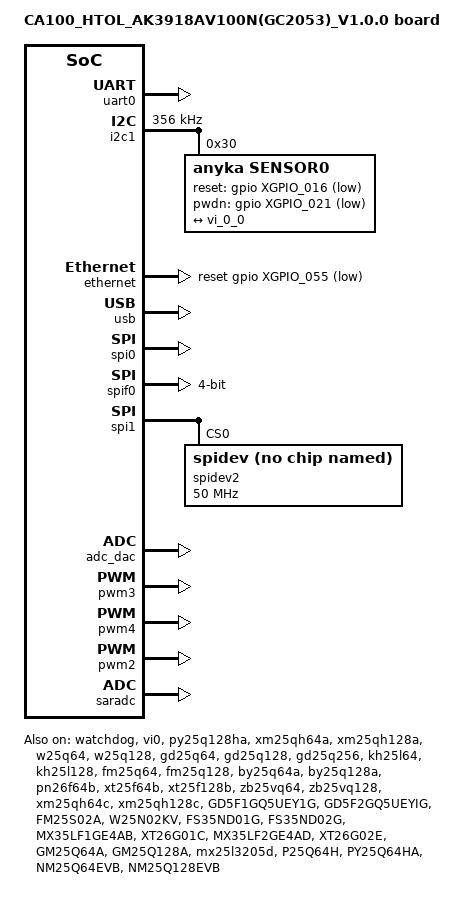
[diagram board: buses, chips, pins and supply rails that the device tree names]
/*
 * AK3918EV300L dev board dts
 *
 * Copyright (C) 2020 Anyka(Guangzhou) Microelectronics Technology Co., Ltd.
 *
 * This program is free software; you can redistribute it and/or modify
 * it under the terms of the GNU General Public License as published by
 * the Free Software Foundation; either version 2 of the License, or
 * (at your option) any later version.
 *
 * This program is distributed in the hope that it will be useful,
 * but WITHOUT ANY WARRANTY; without even the implied warranty of
 * MERCHANTABILITY or FITNESS FOR A PARTICULAR PURPOSE.  See the
 * GNU General Public License for more details.
 */

/dts-v1/;
#include "anycloud_ak3918ev300l_peri_max_freq.dtsi"
#include "anycloud_norflash.dtsi"
#include "anycloud_nandflash.dtsi"


/ {
    compatible = "anyka,ak3918ev300l";
    model = "CA100_HTOL_AK3918AV100N(GC2053)_V1.0.0 board";
    version = "V1.0.00";
};

&gpio {
    /*
    * "anyka,function": func index, please refer to dt-bindings/pinctrl/ak3918ev300l_pinctrl.h
    * "anyka,pull": configuration of the pins
    * bit[7:0]: pull up/down configuration
    *     bit[0]: pull up or pull down selection, 1 means select pull down, 0 means select pull up
    *     bit[4]: pull up or pull down enable, 1 means enable pull up&down function, 0 means disable fuction
    * !!! Notice that not all pin support pull up and pull down. Please refer to the programer's guide.
    * bit[11:8]: driver strength configuration.
    *     bit[9:8] drive strength.
    * bit[12:15] gpio direction
    *     bit[12]: direction. 0 is output, 1 is input
    *     bit[15]: enable direction. 1 is enable
    * bit[19:16]: input enable configuration
    *     bit[16]: 1 means enable input, 0 means disable input.
    * bit[20-23]: gpio output level
    *     bit[20]: 0 is low level, 1 is high level
    *     bit[23]: enable gpio output level. 1 is enable
    * bit[31:24]: pin slew rate configuration
    *     bit[24]: 1 means enable slew rate, 0 means disable slew rate.
    * !!! Notice OTHER bits which not mentioned please set to 0.
    */


    dvp0_12bits_pins: dvp0_12bits_pins {
        anyka,pins = <
                         XGPIO_100
                         XGPIO_009
                         XGPIO_010
                         XGPIO_017
                         XGPIO_018
                         XGPIO_019
                         XGPIO_020
                         XGPIO_023
                         XGPIO_021
                         XGPIO_022
                         XGPIO_099
                         XGPIO_102
                         XGPIO_101
                         XGPIO_103
                         XGPIO_104>;
        anyka,function = <XGPIO_100_FUNC_CSI_CLK
                            XGPIO_009_FUNC_CSI_HSYNC
                            XGPIO_010_FUNC_CSI_VSYNC
                            XGPIO_017_FUNC_CSI_D0
                            XGPIO_018_FUNC_CSI_D1
                            XGPIO_019_FUNC_CSI_D2
                            XGPIO_020_FUNC_CSI_D3
                            XGPIO_023_FUNC_CSI_D4
                            XGPIO_021_FUNC_CSI_D5
                            XGPIO_022_FUNC_CSI_D6
                            XGPIO_099_FUNC_CSI_D7
                            XGPIO_102_FUNC_CSI_D8
                            XGPIO_101_FUNC_CSI_D9
                            XGPIO_103_FUNC_CSI_D10
                            XGPIO_104_FUNC_CSI_D11>;
        anyka,pull = <0x00010010>;
    };

    dvp0_10bits_pins: dvp0_10bits_pins {
        anyka,pins = <   XGPIO_100		//pclk
                         XGPIO_009	//hsync
                         XGPIO_010	//vsync
                         XGPIO_017	//d0
                         XGPIO_018	//d1
                         XGPIO_019	//d2
                         XGPIO_020	//d3
                         XGPIO_023	//d4
                         XGPIO_099	//d7
                         XGPIO_102	//d8
                         XGPIO_101	//d9
                         XGPIO_103	//d10
                         XGPIO_104>;//d11
        anyka,function = <
                            XGPIO_100_FUNC_CSI_CLK
                            XGPIO_009_FUNC_CSI_HSYNC
                            XGPIO_010_FUNC_CSI_VSYNC
                            XGPIO_017_FUNC_CSI_D0
                            XGPIO_018_FUNC_CSI_D1
                            XGPIO_019_FUNC_CSI_D2
                            XGPIO_020_FUNC_CSI_D3
                            XGPIO_023_FUNC_CSI_D4
                            XGPIO_099_FUNC_CSI_D7
                            XGPIO_102_FUNC_CSI_D8
                            XGPIO_101_FUNC_CSI_D9
                            XGPIO_103_FUNC_CSI_D10
                            XGPIO_104_FUNC_CSI_D11>;
        anyka,pull = <0x00010010>;
    };

    dvp0_8bits_pins: dvp0_8bits_pins {
        anyka,pins = <XGPIO_100
                         XGPIO_009
                         XGPIO_010
                         XGPIO_017
                         XGPIO_018
                         XGPIO_019
                         XGPIO_020
                         XGPIO_023
                         XGPIO_021
                         XGPIO_022
                         XGPIO_099>;
        anyka,function = <XGPIO_100_FUNC_CSI_CLK
                            XGPIO_009_FUNC_CSI_HSYNC
                            XGPIO_010_FUNC_CSI_VSYNC
                            XGPIO_017_FUNC_CSI_D0
                            XGPIO_018_FUNC_CSI_D1
                            XGPIO_019_FUNC_CSI_D2
                            XGPIO_020_FUNC_CSI_D3
                            XGPIO_023_FUNC_CSI_D4
                            XGPIO_021_FUNC_CSI_D5
                            XGPIO_022_FUNC_CSI_D6
                            XGPIO_099_FUNC_CSI_D7>;
        anyka,pull = <0x00010010>;
    };

    mipi0_3lane_pins: mipi0_3lane_pins {
        anyka,pins = <XGPIO_099
                        XGPIO_100
                        XGPIO_101
                        XGPIO_102
                        XGPIO_103
                        XGPIO_104>;
        anyka,function = <XGPIO_099_FUNC_MIPI_RX_L0P
                            XGPIO_100_FUNC_MIPI_RX_L0N
                            XGPIO_101_FUNC_MIPI_RX_L1P
                            XGPIO_102_FUNC_MIPI_RX_L1N
                            XGPIO_103_FUNC_MIPI_RX_L2P
                            XGPIO_104_FUNC_MIPI_RX_L2N>;
        anyka,pull = <0x00010010>;
    };

    csi0_sclk_pin: csi0_sclk_pin {
        anyka,pins = <XGPIO_022>;
        anyka,function = <XGPIO_022_FUNC_CSI0_SCLK>;
        anyka,pull = <0x00010010>;
    };

    i2c1_pins: i2c1_pins {
        anyka,pins = <XGPIO_049 XGPIO_048>;
        anyka,function = <XGPIO_049_FUNC_TWI1_SDA XGPIO_048_FUNC_TWI1_SCL>;
        anyka,pull = <0x10010>;
    };
    pwm3_pins: pwm3_pins {
        anyka,pins = <XGPIO_068>;
        anyka,function = <XGPIO_068_FUNC_PWM3>;
        anyka,pull = <0x10>;
    };
    pwm4_pins: pwm4_pins {
        anyka,pins = <XGPIO_056>;
        anyka,function = <XGPIO_056_FUNC_PWM4>;
        anyka,pull = <0x10>;
    };

    pwm2_pins: pwm2_pins {
        anyka,pins = <XGPIO_067>;
        anyka,function = <XGPIO_067_FUNC_PWM2>;
        anyka,pull = <0x10>;
    };

    mci1_pins: mci1_pins {
        anyka,pins = <XGPIO_036
                        XGPIO_035
                        XGPIO_034
                        XGPIO_033
                        XGPIO_032
                        XGPIO_031>;
        anyka,function = <XGPIO_036_FUNC_SDIO0_DATA1
                            XGPIO_035_FUNC_SDIO0_DATA0
                            XGPIO_034_FUNC_SDIO0_MCLK
                            XGPIO_033_FUNC_SDIO0_CMD
                            XGPIO_032_FUNC_SDIO0_DATA3
                            XGPIO_031_FUNC_SDIO0_DATA2>;
        anyka,pull = <0x10010>;
    };

    /* 
     *  When using DATA3 as plugin and plugoff detect:
     *  1. Set XGPIO_032_FUNC_SDIO0_DATA3 pull up disable and pull down disable
     *  2. Using PULLDOWN RESISTANCE on PCB, for example, 510   KO.
     */
    mci1_pins_d3_detect_mode: mci1_pins_d3_detect_mode {
        anyka,pins = <XGPIO_036
                        XGPIO_035
                        XGPIO_034
                        XGPIO_033
                        XGPIO_032
                        XGPIO_031>;
        anyka,function = <XGPIO_036_FUNC_SDIO0_DATA1
                            XGPIO_035_FUNC_SDIO0_DATA0
                            XGPIO_034_FUNC_SDIO0_MCLK
                            XGPIO_033_FUNC_SDIO0_CMD
                            XGPIO_032_FUNC_SDIO0_DATA3
                            XGPIO_031_FUNC_SDIO0_DATA2>;
        anyka,pull = <  0x10010 
                        0x10010
                        0x10010
                        0x10010
                        0x10001  /* disable pull down and pull up */
                        0x10010 >;
    };

    mci1_idle_pins: mci1_idle_pins {
        anyka,pins = <XGPIO_036
                        XGPIO_035
                        XGPIO_034
                        XGPIO_033
                        XGPIO_032
                        XGPIO_031>;
        anyka,function = <XGPIO_036_FUNC_GPIO36
                            XGPIO_035_FUNC_GPIO35
                            XGPIO_034_FUNC_GPIO34
                            XGPIO_033_FUNC_GPIO33
                            XGPIO_032_FUNC_GPIO32
                            XGPIO_031_FUNC_GPIO31>;
        anyka,pull = <0x0>;
    };

    tf_det_pins: tf_det_pins {
        anyka,pins = <XGPIO_098>;
        anyka,function = <XGPIO_098_FUNC_GPIO98>;
        anyka,pull = <0x10010>;
    };

    tf_en_pins: tf_en_pins {
        anyka,pins = <XGPIO_050>;
        anyka,function = <XGPIO_050_FUNC_GPIO50>;
        anyka,pull = <0x10010>;
    };

/*    speaker_en_pins: speaker_en_pins {
        anyka,pins = <XGPIO_006>;
        anyka,function = <XGPIO_006_FUNC_GPIO6>;
		anyka,pull = <0x00808000>;
    };*/

	irled_pins: irled_pins {
        anyka,pins = <XGPIO_027>;
        anyka,function = <XGPIO_027_FUNC_GPIO27>;
        anyka,pull = <0x10>;
    };

    bled_pin: bled_pin {
        anyka,pins = <XGPIO_066>;
        anyka,function = <XGPIO_066_FUNC_GPIO66>;
        anyka,pull = <0x10>;
    };
    spi1_pins: spi1_pins {
        anyka,pins = <XGPIO_026
                        XGPIO_025
                        XGPIO_027
                        XGPIO_065
                        XGPIO_024>;
        anyka,function = <XGPIO_026_FUNC_SPI1_DOUT
                            XGPIO_025_FUNC_SPI1_CLK
                            XGPIO_027_FUNC_SPI1_DIN
                            XGPIO_065_FUNC_GPIO65
                            XGPIO_024_FUNC_SPI1_CS>;
        anyka,pull = <0x00010000>;
    };

	gpiokey_pins:gpiokey_pins {
		anyka,pins = <XGPIO_024>;
		anyka,function = <XGPIO_024_FUNC_GPIO24>;
		anyka,pull = <0x00010000>;
	};

	irfeed_pins: irfeed_pins {
        anyka,pins = <XGPIO_071>;
        anyka,function = <XGPIO_071_FUNC_AIN0>;
        anyka,pull = <0x0000000>;	/* must disable input */
    };

	motor0_pins: motor0_pins {
        anyka,pins = <XGPIO_048 XGPIO_049 XGPIO_003 XGPIO_002>;
        anyka,function = <XGPIO_048_FUNC_GPIO48
							XGPIO_049_FUNC_GPIO49
							XGPIO_003_FUNC_GPIO3
							XGPIO_002_FUNC_GPIO2>;
        anyka,pull = <0x00808000>;
    };

    motor1_pins: motor1_pins {
        anyka,pins = <XGPIO_001 XGPIO_000 XGPIO_055 XGPIO_056>;
        anyka,function = <XGPIO_001_FUNC_GPIO1
							XGPIO_000_FUNC_GPIO0
							XGPIO_055_FUNC_GPIO55
							XGPIO_056_FUNC_GPIO56>;
        anyka,pull = <0x00808000>;
    };
    ethernet_rst_pins: ethernet_rst_pins {
        anyka,pins = <XGPIO_055>;
        anyka,function = <XGPIO_055_FUNC_GPIO55>;
        anyka,pull = <0x00010010>;
    };

};

&uart0 {
    pinctrl-names = "default";
    pinctrl-0 = <&uart0_pins>;
    status = "okay";
};

&watchdog {
    status = "okay";
};


&vi0 {
    pinctrl-names = "dvp0_12bits", "dvp0_10bits", "dvp0_8bits",
	/*
        "mipi0_4lane", "mipi0_3lane",
        "mipi0_2lane", "mipi0_1lane",
        "mipi1_2lane", "mipi1_1lane",
		*/
        "csi0_sclk"/*, "csi1_sclk"*/;
    pinctrl-0 = <&dvp0_12bits_pins>;
    pinctrl-1 = <&dvp0_10bits_pins>;
    pinctrl-2 = <&dvp0_8bits_pins>;
    pinctrl-3 = <&csi0_sclk_pin>;
    /*pinctrl-4 = <&csi1_sclk_pin>;*/
	/*
    pinctrl-3 = <&mipi0_4lane_pins>;
    pinctrl-4 = <&mipi0_3lane_pins>;
    pinctrl-5 = <&mipi0_2lane_pins>;
    pinctrl-6 = <&mipi0_1lane_pins>;
    pinctrl-7 = <&mipi1_2lane_pins>;
    pinctrl-8 = <&mipi1_1lane_pins>;
    pinctrl-9 = <&csi0_sclk_pin>;
    pinctrl-10 = <&csi1_sclk_pin>;
	*/
    status = "okay";

    csi_dvp_din_swap = <
        CSI_DATA5  //dvp_din0
        CSI_DATA6  //dvp_din1
        CSI_DATA1  //dvp_din2
        CSI_DATA0  //dvp_din3
        CSI_DATA3  //dvp_din4
        CSI_DATA2  //dvp_din5
        CSI_DATA4  //dvp_din6
        CSI_DATA11  //dvp_din7
        CSI_DATA7  //dvp_din8
        CSI_DATA10  //dvp_din9
        CSI_DATA8  //dvp_din10
        CSI_DATA9  //dvp_din11
		>;

    csi_mipi_lane_swap = <
		SENSOR_D0	//L0
		SENSOR_C0	//L1
		SENSOR_D1	//L2
		>;//MIPI_RX_L0~2.
	csi_mipi_dndp_swap = <
		MIPI_DNDP_NOSWAP	//L0
		MIPI_DNDP_NOSWAP	//L1
		MIPI_DNDP_NOSWAP	//L2
	>;//MIPI_RX_L0~2. 0: noswap; others: swap

	port@0 {
		#address-cells = <1>;
		#size-cells = <0>;

		vi_0_0: endpoint@0 {
			reg = <0>;
			remote-endpoint = <&sensor0_0>;
		};
	};
};

&i2c1 {
    pinctrl-names = "default";
    pinctrl-0 = <&i2c1_pins>;
    
    clock-frequency = <356000>;
    status = "okay";
	#address-cells = <1>;
	#size-cells = <0>;
    
	sensor0: camera@0x30{
		compatible = "anyka,sensor0";
		reg = <0x30>;

		/*0xffff means the gpio is invalid*/
		reset-gpio = <&gpio XGPIO_016 1>;
		pwdn-gpio = <&gpio XGPIO_021 1>;

		port {
			sensor0_0: endpoint@0 {
				remote-endpoint = <&vi_0_0>;
			};
		};
	};
};

&ethernet { 
    pinctrl-names = "default";
    pinctrl-0 = <&ethernet_rmii_pins &ethernet_rst_pins>;
    reset-gpios = <&gpio XGPIO_055 1>;
	phy-address = <1>;
    status = "okay";
};


/* mmc1 card detect using detect-gpio or detect-gpios */
&mmc1 {
    bus-width = <0x4>;
    max-frequency = <25000000>;
    detect-gpio = <&gpio XGPIO_098 1>;
    cap-sd-highspeed;
    pinctrl-names = "default","idle";
    pinctrl-0 = <&mci1_pins>,<&tf_en_pins>,<&tf_det_pins>;
    pinctrl-1 = <&mci1_idle_pins>;
    power-pins = <&gpio XGPIO_050 1>;
	power-inverted;
    status = "disable"; 
};

&usb {
    status = "okay";
};

&spi0 {
    pinctrl-names = "default";
    pinctrl-0 = <&spiflash_pins>;
    spi-bus-frequency = <100000000>;
    /*
     * cap-spi-highspeed;
     * if defined, means high speed controller(Maximum 100M/s);
     * if not, means normal speed controller(below 50M/s)
     */
    cap-spi-highspeed;
    status = "okay";
};

&spif0 {
    /* spi flash data bus width:
    ** 1 means 1 wire mode.
    ** 2 means 2 wire mode
    ** 4 means 4 wire mode.
    ** default: 4 wire mode.
    **/
    bus-width = <4>;
    status = "okay";
};

&spi1 {
    pinctrl-names = "default";
    pinctrl-0 = <&spi1_pins>;
    spi-bus-frequency = <50000000>;
    status = "okay";

    spidev2: spidev@2 {
        compatible = "rohm,dh2228fv";
        reg = <0>; // Chip select
        spi-max-frequency = <50000000>;
        status = "okay";
    };
};
&py25q128ha{
    status = "okay";
};

&xm25qh64a{
    status = "okay";
};

&xm25qh128a{
    status = "okay";
};

&w25q64{
    status = "okay";
};

&w25q128{
    status = "okay";
};

&gd25q64{
    status = "okay";
};

&gd25q128{
    status = "okay";
};

&gd25q256{
    status = "okay";
};

&kh25l64{
    status = "okay";
};

&kh25l128{
    status = "okay";
};

&fm25q64{
    status = "okay";
};

&fm25q128{
    status = "okay";
};

&by25q64a{
    status = "okay";
};

&by25q128a{
    status = "okay";
};

&pn26f64b{
    status = "okay";
};

&xt25f64b{
    status = "okay";
};

&xt25f128b{
    status = "okay";
};

&zb25vq64{
    status = "okay";
};

&zb25vq128{
    status = "okay";
};

&xm25qh64c{
    status = "okay";
};

&xm25qh128c{
    status = "okay";
};

&GD5F1GQ5UEY1G{
    status = "okay";
};

&GD5F2GQ5UEYIG{
    status = "okay";
};

&FM25S02A{
    status = "okay";
};

&W25N02KV{
    status = "okay";
};

&FS35ND01G{
    status = "okay";
};

&FS35ND02G{
    status = "okay";
};

&MX35LF1GE4AB{
    status = "okay";
};

&XT26G01C{
    status = "okay";
};

&MX35LF2GE4AD{
    status = "okay";
};

&XT26G02E{
    status = "okay";
};

&GM25Q64A{
    status = "okay";
};

&GM25Q128A{
    status = "okay";
};

&mx25l3205d{
    status = "okay";
};

&P25Q64H{
    status = "okay";
};

&PY25Q64HA{
  status = "okay";
};

&NM25Q64EVB{
    status = "okay";
};

&NM25Q128EVB{
    status = "okay";
};

&ME25L64E{
    status = "okay";
};

&ME25L128C{
    status = "okay";
};

&XM25QH256C{
  status = "okay";
};

&UC25IQ128A{
  status = "okay";
};

&TH25Q64HA{
    status = "okay";
};

&TH25Q128HA{
    status = "okay";
};

&BW25Q64A{
    status = "okay";
};

&BW25Q128A{
    status = "okay";
};

&adc_dac {
    pinctrl-names = "default";
    //pinctrl-0 = <&speaker_en_pins>;
    pinctrl-0 = <>;
    //speak-gpios = <&gpio XGPIO_006 1>;
    pd-hpvcm = <1>;
    /*
    * The level of speak-gpios votage for power on audio: 0=low, 1=high
    */
    //speak-gpios-en = <1>;
    status = "okay";

    dev0 {
        snd-dev = <SND_CARD_DAC_PLAYBACK>;
        snd-type = <AK_PCM_DEV_PLAYBACK>;
    };

    dev1 {
        snd-dev = <SND_CARD_ADC_CAPTURE>;
        snd-type = <AK_PCM_DEV_CAPTURE>;
    };

    dev2 {
        snd-dev = <SND_CARD_DAC_LOOPBACK>;
        snd-type = <AK_PCM_DEV_LOOPBACK>;
    };
};

&venc {
    status = "okay";
};

&venc_bridge{
     status = "okay";
};


&encrypt{
    status = "okay"; 
};


&pwm3 {
	pinctrl-names = "default";
    pinctrl-0 = <&pwm3_pins>;
	period-ns = <500>;
	duty-ns = <100>;
	pwm-enable = <1>;
	status = "okay";
};
&pwm4 {
	pinctrl-names = "default";
    pinctrl-0 = <&pwm4_pins>;
	period-ns = <500>;
	duty-ns = <100>;
	pwm-enable = <1>;
	status = "okay";
};

&pwm2 {
	pinctrl-names = "default";
    pinctrl-0 = <&pwm2_pins>;
	period-ns = <500>;
	duty-ns = <250>;
	pwm-enable = <1>;
	status = "okay";
};


&saradc{
    pinctrl-names = "default";
    pinctrl-0 = <&irfeed_pins>;

    /* SAR ADC VREF selection
    * 0:To select AVCC 3.3V as VREF for SAR ADC.
    * 1:To select 3.0V generated from BGR as VREF for SAR ADC.
    */
    vref-select = <0>;
    /*
    * 0:To disable BAT voltage divider.
    * 1:To enable BAT voltage divider divided by 2.
    */
    battery-divider = <1>;
    /*
    * Sampling number
    * Read the sampling data for N times and then calculate the average value.
    * N ranges from 1 to 7.
    */
    sampling-num = <3>;
    status = "okay";
};
